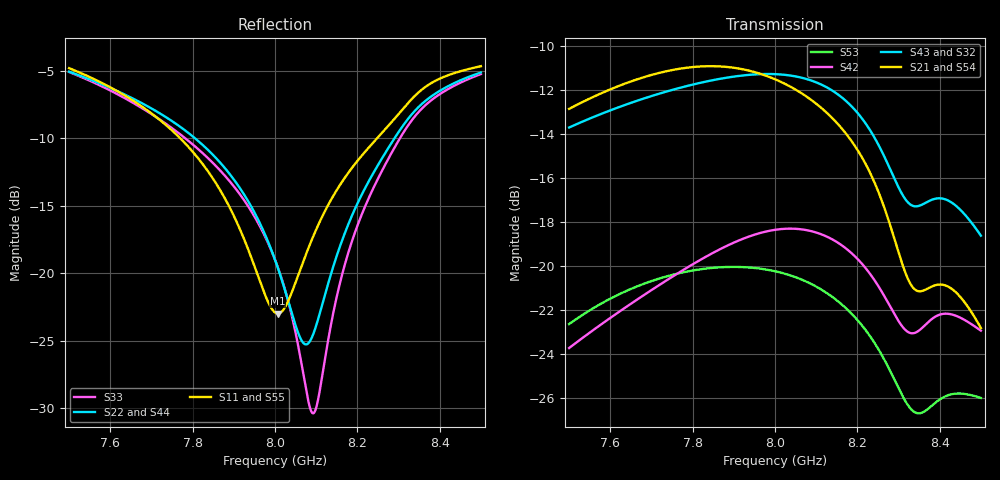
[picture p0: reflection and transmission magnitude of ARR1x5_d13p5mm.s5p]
! Touchstone file exported from HFSS 2025.1.0
!  File:  C:/Users/user/Documents/Ansoft/TFG_UWB-MIMO-Array.aedt
!  Generated:  02:04:17 PM Nov 20, 2026
!  Design:  ARR1x5_US3_PS6_dparam
!  Project:  TFG_UWB-MIMO-Array
!  Setup:  Setup_ch9
!  Solution:  Sweep_7p5_8p5
! Variables:
!  arr_d = 13.5mm
!  board_m = 13mm
!  board_x = 80mm
!  board_y = 26mm
!  cu_t = 0.035mm
!  line_w = 3.92mm
!  pad_xy = 22mm
!  pad_zn = 25mm
!  pad_zp = 33mm
!  par_L = 7.05mm
!  par_W = 11mm
!  par_yc = 0.615mm
!  par_z = 1.035mm
!  patch_L = 6.29mm
!  patch_W = 11.421266mm
!  sub_h = 2.07mm
!  tr_l = 6.6mm
!  tr_w = 0.8mm
!  u_Lu = 2.65mm
!  u_Wu = 4.4mm
!  u_t = 0.8mm
!  u_y0 = -0.7mm
# GHz S MA R 50.000000
! Terminal data exported
! Port[1] = P1
! Port[2] = P2
! Port[3] = P3
! Port[4] = P4
! Port[5] = P5
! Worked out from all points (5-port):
!   1001 points, 7.5 GHz to 8.5 GHz, reference 50 ohm
!   strongest paths, dB at 7.5 GHz, 7.75 GHz, 8 GHz, 8.25 GHz, 8.5 GHz:
!     S21: -12.8, -11.1, -11.5, -16.6, -22.8
!     S54: -12.9, -11.1, -11.5, -16.7, -22.9
!     S43: -13.7, -12.0, -11.3, -14.4, -18.6
!     S32: -13.7, -12.0, -11.3, -14.4, -18.7
!     S42: -23.7, -20.5, -18.4, -20.9, -22.9
!     S53: -22.6, -20.4, -20.2, -23.8, -26.0
!   lowest |S11| = -23.0 dB at 8.007 GHz (marker M1), VSWR 1.15, Z = 57.6 - j0.818 ohm
!   |S11| at or under -10 dB: 7.77 GHz to 8.248 GHz (477.6 MHz wide, 5.96 % of centre)
